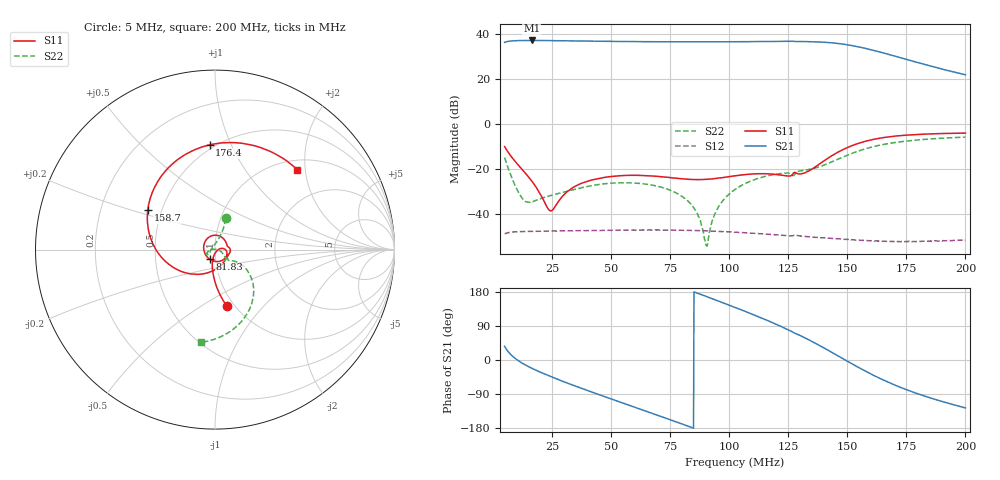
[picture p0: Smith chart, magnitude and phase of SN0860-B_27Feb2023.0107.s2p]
# Hz S DB R 50
! CMT, M5045, 22160017, 22.4.3/2
! Date: 2/27/2023 01:07:11
! Data: Format (Calibration Info)
! Freq	S11:dB/Ang(F2)	S21:dB/Ang(F2)	S12:dB/Ang(F2)	S22:dB/Ang(F2)
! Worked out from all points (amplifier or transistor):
!   1001 points, 5 MHz to 200 MHz, reference 50 ohm
!   highest |S21| = 37.3 dB at 16.5 MHz (marker M1)
!   |S21| within 3 dB of that: start of sweep to 155.5 MHz
!   unconditionally stable (mu >= 1): start of sweep to end of sweep
!   at 37.37 MHz: K = 1.76, MAG = 37.0 dB, |S12| = -47.2 dB
!   at 102.5 MHz: K = 1.93, MAG = 36.7 dB, |S12| = -47.8 dB
!   at 200 MHz: K = 6.62, MAG = 25.5 dB, |S12| = -51.3 dB
!   S11 on the Smith chart (normalised r, x): 5 MHz: 0.92, -0.65; 81.83 MHz: 0.94, -0.10; 158.7 MHz: 0.42, +0.23; 176.4 MHz: 0.47, +0.83; 200 MHz: 1.21, +1.82
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5000000  -9.85 -78.0  36.42 36.1  -48.51 39.2  -14.74 71.3
9290000  -16.23 -92.4  37.13 5.1  -47.72 7.7  -26.84 77.4
1.6505e7  -25.18 -102.7  37.26 -21.8  -47.47 -18.9  -34.45 156.9
2.6645e7  -36.01 -6.0  37.17 -49.1  -47.36 -45.7  -31.01 -159.5
3.7565e7  -26.16 6.3  37.01 -74.8  -47.20 -69.7  -28.16 -144.4
5.297e7  -22.85 -22.3  36.82 -109.1  -46.97 -101.4  -25.98 -147.9
7.013e7  -23.13 -70.0  36.69 -146.6  -46.88 -135.8  -27.59 -163.6
8.183e7  -24.32 -117.7  36.67 -172.8  -47.14 -160.0  -33.40 -179.7
9.2165e7  -24.27 -170.9  36.66 163.5  -47.36 179.0  -45.80 15.5
1.025e8  -22.84 136.9  36.69 138.9  -47.83 156.6  -28.95 -19.4
1.1225e8  -21.92 91.8  36.75 114.6  -48.40 134.5  -24.00 -33.4
1.20635e8  -22.35 48.3  36.83 92.3  -49.11 112.9  -21.97 -42.8
1.26485e8  -22.62 12.4  36.94 75.1  -49.47 97.9  -22.22 -47.2
1.35065e8  -19.86 -79.8  36.70 48.9  -49.98 68.2  -19.72 -36.2
1.40915e8  -15.64 -123.5  36.42 29.2  -50.45 46.7  -17.79 -30.5
1.46375e8  -12.16 -154.9  35.88 9.9  -50.81 26.0  -15.32 -29.6
1.5281e8  -9.12 174.1  34.83 -12.9  -51.25 -1.3  -12.55 -35.2
1.5866e8  -7.24 149.5  33.50 -32.6  -51.64 -23.3  -10.55 -43.8
1.6763e8  -5.53 118.0  31.04 -59.4  -51.95 -53.2  -8.48 -58.5
1.76405e8  -4.67 93.0  28.45 -81.5  -51.98 -75.8  -7.25 -71.6
1.86545e8  -4.17 69.5  25.53 -102.8  -51.86 -96.5  -6.36 -84.5
2e8  -3.89 44.1  22.01 -126.4  -51.31 -116.1  -5.65 -98.4
